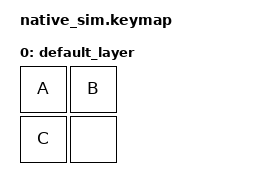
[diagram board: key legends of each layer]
#include <dt-bindings/zmk/keys.h>
#include <behaviors.dtsi>
#include <dt-bindings/zmk/input_matrix_mock.h>

/*
    combo 12 timeout 100
    combo 0123 timeout 100
    press 012, release 2
    expected: key pos 0 followed by combo 12
 */
/ {
    combos {
        compatible = "zmk,combos";
        combo_two {
            timeout-ms = <100>;
            key-positions = <1 2>;
            bindings = <&kp Y>;
        };


        combo_four {
            timeout-ms = <100>;
            key-positions = <0 1 2 3>;
            bindings = <&kp W>;
        };

    };

    keymap {
        compatible = "zmk,keymap";

        default_layer {
            bindings = <
                &kp A &kp B
                &kp C &none
            >;
        };
    };
};

&matrix {
    events = <
        /* if you're debugging these, remember that the timer can be triggered between
          events while stepping through code. */
        ZMK_MOCK_PRESS(0,0,10)
        ZMK_MOCK_PRESS(0,1,10)
        ZMK_MOCK_PRESS(0,2,100)
        ZMK_MOCK_RELEASE(0,0,10)
        ZMK_MOCK_RELEASE(0,1,10)
        ZMK_MOCK_RELEASE(0,2,100)
    >;
};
